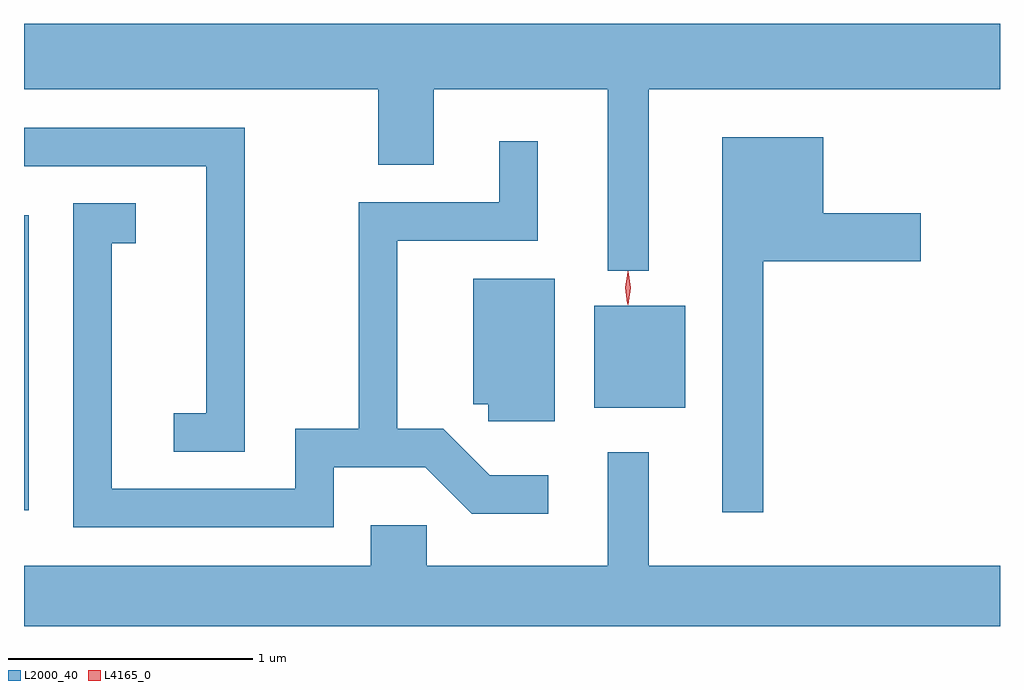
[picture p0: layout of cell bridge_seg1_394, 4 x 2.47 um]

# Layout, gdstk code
import gdstk
lib = gdstk.Library(unit=1e-6, precision=1e-09)
def R(c, l, rs):  # rectangles x0, y0, x1, y1
    for r in rs: c.add(gdstk.rectangle(r[:2], r[2:], *l))
def P(c, l, *ps):  # polygons
    for p in ps: c.add(gdstk.Polygon(p, *l))
L2000_40 = (2000, 40)
L4165_0 = (4165, 0)

bridge_seg1_394 = lib.new_cell('bridge_seg1_394')
R(bridge_seg1_394, L2000_40, [(417.939,966.671,417.959,967.879), (420.276,967.091,420.649,967.509)])
P(bridge_seg1_394, L2000_40, [(420.499,968.396),(421.939,968.396),(421.939,968.664),(417.939,968.664),(417.939,968.396),(419.391,968.396),(419.391,968.086),(419.619,968.086),(419.619,968.396),(420.331,968.396),(420.331,967.653),(420.499,967.653)],
  [(418.844,968.239),(417.939,968.239),(417.939,968.081),(418.686,968.081),(418.686,967.069),(418.553,967.069),(418.553,966.911),(418.844,966.911)],
  [(420.969,967.691),(421.614,967.691),(421.614,967.889),(421.214,967.889),(421.214,968.199),(420.801,968.199),(420.801,966.663),(420.969,966.663)],
  [(419.209,966.846),(419.584,966.846),(419.774,966.656),(420.088,966.656),(420.088,966.814),(419.847,966.814),(419.657,967.004),(419.469,967.004),(419.469,967.776),(420.044,967.776),(420.044,968.183),(419.886,968.183),(419.886,967.934),(419.311,967.934),(419.311,967.004),(419.051,967.004),(419.051,966.759),(418.299,966.759),(418.299,967.766),(418.398,967.766),(418.398,967.929),(418.141,967.929),(418.141,966.601),(419.209,966.601)],
  [(420.114,967.619),(419.781,967.619),(419.781,967.106),(419.841,967.106),(419.841,967.036),(420.114,967.036)],
  [(421.939,966.444),(420.499,966.444),(420.499,966.908),(420.331,966.908),(420.331,966.444),(419.589,966.444),(419.589,966.609),(419.361,966.609),(419.361,966.444),(417.939,966.444),(417.939,966.196),(421.939,966.196)])
P(bridge_seg1_394, L4165_0, [(420.414,967.514),(420.405,967.582),(420.414,967.65),(420.415,967.65),(420.415,967.65),(420.425,967.582),(420.415,967.514),(420.415,967.514)],
  [(420.413,967.518),(420.412,967.519),(420.404,967.583),(420.414,967.646),(420.415,967.647),(420.415,967.646),(420.424,967.582),(420.413,967.519)])

lib.write_gds('bridge_seg1_394.gds')
